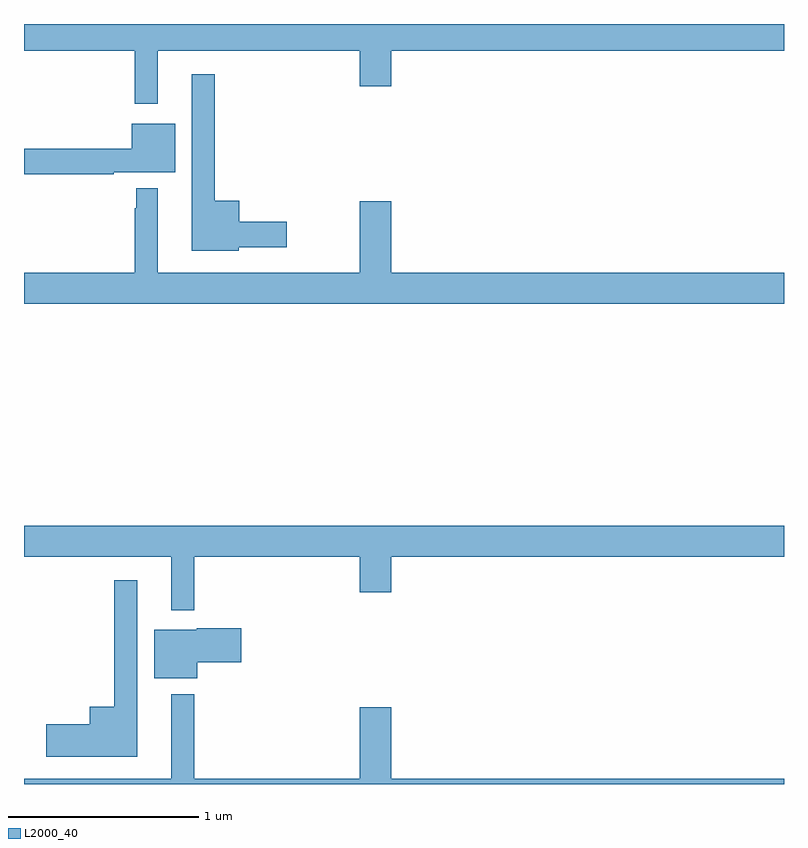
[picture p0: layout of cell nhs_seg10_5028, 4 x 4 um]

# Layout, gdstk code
import gdstk
lib = gdstk.Library(unit=1e-6, precision=1e-09)
def P(c, l, *ps):  # polygons
    for p in ps: c.add(gdstk.Polygon(p, *l))
L2000_40 = (2000, 40)

nhs_seg10_5028 = lib.new_cell('nhs_seg10_5028')
P(nhs_seg10_5028, L2000_40, [(403.705,1256.36),(404.768,1256.36),(404.768,1256.172),(404.932,1256.172),(404.932,1256.36),(407,1256.36),(407,1256.5),(403,1256.5),(403,1256.36),(403.584,1256.36),(403.584,1256.079),(403.705,1256.079)],
  [(404.13,1255.325),(404.383,1255.325),(404.383,1255.46),(404.134,1255.46),(404.134,1255.57),(404.005,1255.57),(404.005,1256.236),(403.883,1256.236),(403.883,1255.307),(404.13,1255.307)],
  [(403.472,1255.721),(403.795,1255.721),(403.795,1255.975),(403.568,1255.975),(403.568,1255.844),(403,1255.844),(403,1255.708),(403.472,1255.708)],
  [(407,1255.192),(404.932,1255.192),(404.932,1255.567),(404.768,1255.567),(404.768,1255.192),(403.705,1255.192),(403.705,1255.636),(403.59,1255.636),(403.59,1255.529),(403.584,1255.529),(403.584,1255.192),(403,1255.192),(403,1255.028),(407,1255.028)],
  [(403.897,1253.696),(404.768,1253.696),(404.768,1253.508),(404.932,1253.508),(404.932,1253.696),(407,1253.696),(407,1253.86),(403,1253.86),(403,1253.696),(403.775,1253.696),(403.775,1253.415),(403.897,1253.415)],
  [(403.597,1253.572),(403.476,1253.572),(403.476,1252.906),(403.346,1252.906),(403.346,1252.814),(403.116,1252.814),(403.116,1252.643),(403.597,1252.643)],
  [(403.912,1253.141),(404.143,1253.141),(404.143,1253.319),(403.908,1253.319),(403.908,1253.311),(403.685,1253.311),(403.685,1253.057),(403.912,1253.057)],
  [(407,1252.528),(404.932,1252.528),(404.932,1252.903),(404.768,1252.903),(404.768,1252.528),(403.897,1252.528),(403.897,1252.972),(403.775,1252.972),(403.775,1252.528),(403,1252.528),(403,1252.5),(407,1252.5)])

lib.write_gds('nhs_seg10_5028.gds')
